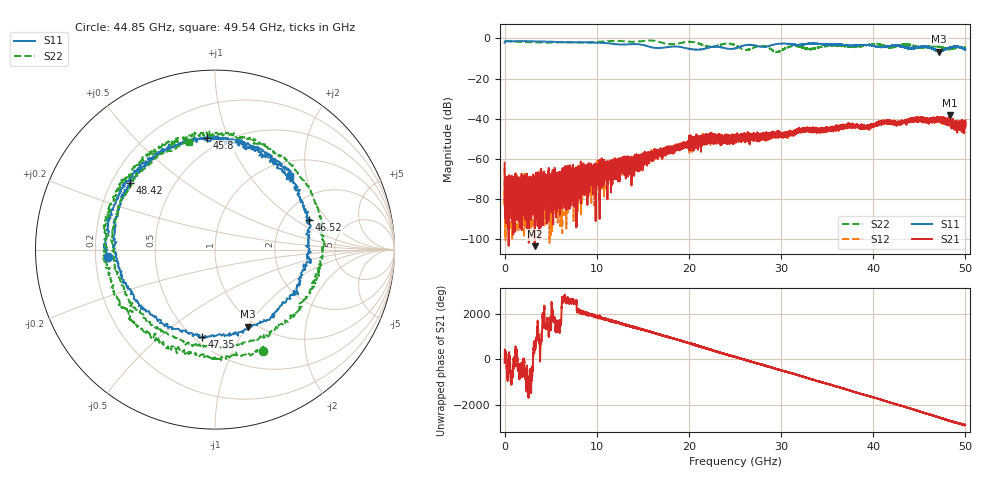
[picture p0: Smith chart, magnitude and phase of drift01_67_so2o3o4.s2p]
!Created with skrf (http://scikit-rf.org).
# Hz S RI R 50.0
!freq ReS11 ImS11 ReS21 ImS21 ReS12 ImS12 ReS22 ImS22
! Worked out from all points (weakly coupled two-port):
!   10001 points, 300 kHz to 50 GHz, reference 50 ohm
!   highest |S21| = -38.40 dB at 48.29 GHz (marker M1); lowest = -103.5 dB at 3.265 GHz (marker M2)
!   lowest |S11| = -6.6 dB at 47.14 GHz (marker M3), VSWR 2.75, Z = 46 - j50.5 ohm
!   |S11| at or under -10 dB: nowhere
!   |S22| runs from -6.8 to -1.0 dB; largest |S21 - S12| = 0.0046
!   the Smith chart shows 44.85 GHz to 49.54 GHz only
!   S11 on the Smith chart (normalised r, x): 44.85 GHz: 0.25, -0.03; 45.8 GHz: 0.41, +0.84; 46.52 GHz: 2.74, +1.29; 47.35 GHz: 0.55, -0.70; 48.42 GHz: 0.28, +0.32; 49.54 GHz: 1.30, +1.62
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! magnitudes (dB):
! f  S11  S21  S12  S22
! 300 kHz  -2.1  -61.9  -64.6  -1.3
! 320.3 MHz  -1.4  -74.8  -77.3  -1.3
! 3.265 GHz  -1.5  -103.5  -86.0  -2.0
! 5.93 GHz  -1.8  -84.5  -78.0  -2.0
! 8.335 GHz  -1.9  -65.2  -65.4  -2.1
! 16.67 GHz  -4.8  -57.6  -57.0  -1.6
! 21.88 GHz  -4.9  -50.2  -49.1  -3.9
! 25 GHz  -5.0  -51.0  -49.2  -3.4
! 28.09 GHz  -4.2  -48.2  -49.2  -3.8
! 29.55 GHz  -2.8  -48.6  -47.8  -6.7
! 31.29 GHz  -3.0  -47.6  -47.1  -3.9
! 33.34 GHz  -2.6  -45.9  -45.7  -5.4
! 41.67 GHz  -3.9  -40.9  -41.7  -4.5
! 44.85 GHz  -4.5  -39.8  -40.7  -4.1
! 45.8 GHz  -4.1  -39.6  -40.8  -4.1
! 46.52 GHz  -5.2  -40.1  -40.1  -3.8
! 47.14 GHz  -6.6  -40.0  -41.1  -4.1
! 47.35 GHz  -6.2  -39.6  -40.5  -4.5
! 48.29 GHz  -4.5  -38.4  -42.5  -5.4
! 48.42 GHz  -4.4  -41.2  -41.9  -5.2
! 49.54 GHz  -4.6  -43.9  -43.6  -4.2
! 50 GHz  -5.6  -40.9  -42.6  -4.2
